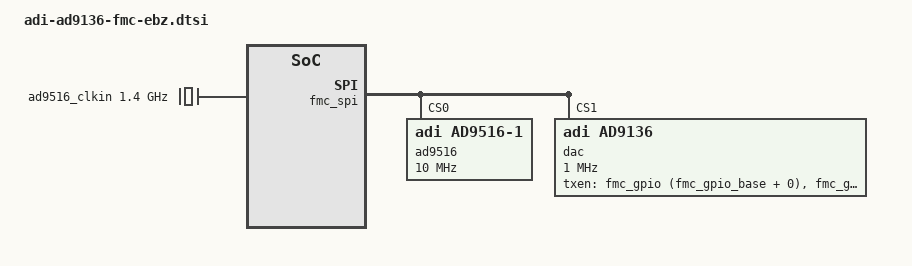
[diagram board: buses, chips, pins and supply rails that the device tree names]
/ {
	clocks {
		ad9516_clkin: refclk {
			compatible = "fixed-clock";

			clock-frequency = <1400000000>;
			clock-output-names = "ad9516-extclk";
			#clock-cells = <0>;
		};

/* Ref clock for external clock chip
		ref_clock: clock@0 {
			compatible = "fixed-clock";

			clock-frequency = <10000000 >;
			clock-output-names = "10M-TCXO";
			#clock-cells = <0>;
		};
*/
	};
};

/*
 * Example of how to use a programmable external clock generator connected to
 * the PMOD SPI to generate the input clock frequency for the board.

&pmod_spi {
	status = "okay";

	ad9516_clkin: pll@0 {
		compatible = "adi,adf4360-7";
		reg = <0>;
		spi-max-frequency = <2000000>;

		#clock-cells = <0>;

		clocks = <&ref_clock>;
		clock-names = "clkin";
		clock-output-names = "adf4360-7";

		adi,loop-filter-charge-pump-current-microamp = <1870>;
		adi,loop-filter-pfd-frequency-hz = <2500000>;

		assigned-clocks = <&ad9516_clkin>;
		assigned-clock-rates = <750000000>;
	};
};
*/

&fmc_spi {
	status = "okay";

	ad9516: clockchip@0 {
		compatible = "adi,ad9516-1";
		reg = <0>;

		spi-max-frequency = <10000000>;

		clocks = <&ad9516_clkin>;
		clock-names = "clkin";
		clock-output-names = "ad9516-out0", "ad9516-out1", "ad9516-out2",
			"ad9516-out3", "ad9516-out4", "ad9516-out5", "ad9516-out6",
			"ad9516-out7", "ad9516-out8", "ad9516-out9";
		#clock-cells = <1>;

		/* DAC clock, DAC SYSREF, FPGA clock, FPGA SYSREF */
		assigned-clocks = <&ad9516 1>, <&ad9516 6>, <&ad9516 9>, <&ad9516 7>;
		assigned-clock-rates = <1400000000>, <683594>, <87500000>, <683594>;
	};

	dac: dac@1 {
		compatible = "adi,ad9136";
		reg = <1>;
		adi,spi-4wire-enable;

		spi-max-frequency = <1000000>;

		txen-gpios = <&fmc_gpio (fmc_gpio_base + 0) 0>, <&fmc_gpio (fmc_gpio_base + 1) 0>;

		clocks = <&jesd204_link>, <&ad9516 1>, <&ad9516 6>;
		clock-names = "jesd_dac_clk", "dac_clk", "dac_sysref";
	};
};
